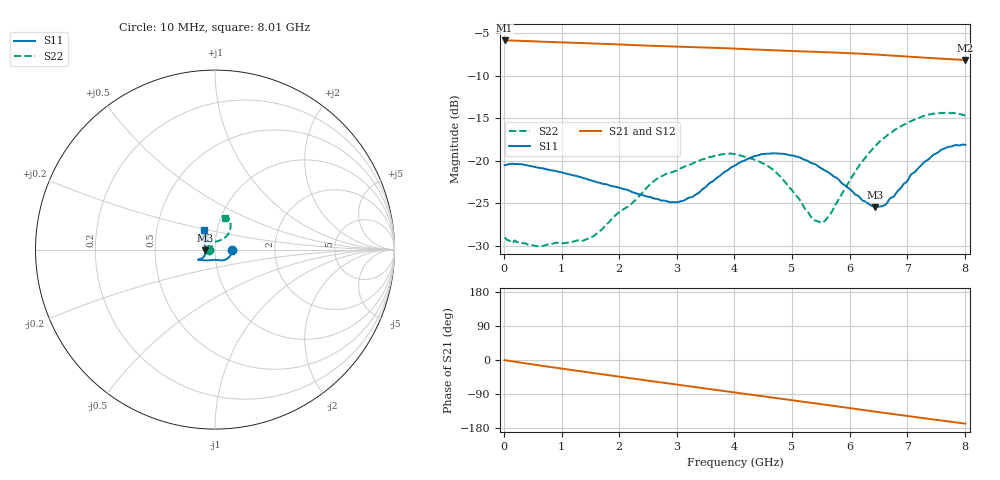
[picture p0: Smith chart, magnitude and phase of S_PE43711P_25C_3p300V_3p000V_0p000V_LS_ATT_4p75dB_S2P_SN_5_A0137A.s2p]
! Device ID: PE43711P
! File Path: z:\PE43711P\CHAR_NOM_04282014\AMB\3p300\LS_ATT_4p75dB\PE43711P_AMB_3p300V_3p000V_0p000V_LS_ATT_4p75dB_S2P_SN_5_A0137A.s2p
! Serial: 5
! Lot: A0137A
! Temp: 25C
! VDD: 3.300
! VSS: 0.000
! Control_Hi: 3.000
! Control_Lo: 0.000
! Attenuation Step: 4.75dB
! Port 1: RF1
! Port 2: RF2
! ThroughPath:1-2
! IDD: 0.0001276376
! ISS: -8.72e-008
#  Hz  S  RI  R  50
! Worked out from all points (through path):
!   801 points, 10 MHz to 8.01 GHz, reference 50 ohm
!   highest |S21| = -5.83 dB at 10 MHz (marker M1); lowest = -8.1 dB at 8.01 GHz (marker M2)
!   group delay of S21, straight-line fit = 57.9 ps
!   lowest |S11| = -25.5 dB at 6.44 GHz (marker M3), VSWR 1.11, Z = 45 - j0.436 ohm
!   |S11| at or under -10 dB: start of sweep to end of sweep
!   |S22| runs from -30.0 to -14.3 dB; largest |S21 - S12| = 0.00088
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1e7  0.0944 -0.000387  0.511 -0.00254  0.5112 -0.00275  -0.0354 0.000305
5.7e8  0.0852 -0.0333  0.4906 -0.1161  0.4908 -0.1161  -0.0313 -0.00368
1.35e9  0.0561 -0.0568  0.4261 -0.2487  0.4265 -0.2488  -0.0333 0.00606
1.67e9  0.0444 -0.0593  0.3897 -0.2949  0.3902 -0.2951  -0.0336 0.0192
2.68e9  0.014 -0.0578  0.2498 -0.403  0.25 -0.4033  -0.0427 0.0672
2.98e9  -0.00153 -0.057  0.2032 -0.4247  0.2033 -0.425  -0.0502 0.0713
3.26e9  -0.0189 -0.0582  0.1576 -0.4396  0.1578 -0.44  -0.0587 0.076
3.68e9  -0.0512 -0.0599  0.0885 -0.4534  0.0884 -0.4537  -0.0763 0.0756
4.01e9  -0.0739 -0.058  0.033 -0.4564  0.0327 -0.4567  -0.0869 0.0667
4.34e9  -0.0903 -0.0567  -0.0211 -0.4518  -0.0212 -0.4521  -0.084 0.0576
4.68e9  -0.0952 -0.0567  -0.075 -0.4407  -0.0751 -0.4409  -0.0729 0.0498
5.11e9  -0.0895 -0.0555  -0.1392 -0.4189  -0.1393 -0.4191  -0.0422 0.0435
5.35e9  -0.0819 -0.0515  -0.1735 -0.4028  -0.1737 -0.4033  -0.0193 0.0415
5.5e9  -0.0762 -0.0497  -0.1944 -0.3912  -0.1945 -0.3916  -0.00385 0.0431
5.6e9  -0.0726 -0.0477  -0.208 -0.383  -0.2076 -0.3831  0.00697 0.0451
6.15e9  -0.0564 -0.0263  -0.2757 -0.3274  -0.2759 -0.3274  0.0596 0.0704
6.44e9  -0.053 -0.00483  -0.3048 -0.2924  -0.3051 -0.2926  0.0778 0.0937
6.68e9  -0.0561 0.0178  -0.3254 -0.2621  -0.3253 -0.2624  0.0847 0.1164
7.05e9  -0.0621 0.0528  -0.3507 -0.2124  -0.3505 -0.2126  0.0865 0.1469
7.45e9  -0.0661 0.0858  -0.3692 -0.1579  -0.3695 -0.158  0.0756 0.1734
7.7e9  -0.0665 0.1005  -0.3773 -0.1241  -0.3772 -0.1238  0.0643 0.1812
8.01e9  -0.0591 0.1091  -0.3838 -0.0822  -0.384 -0.0814  0.0537 0.1767
